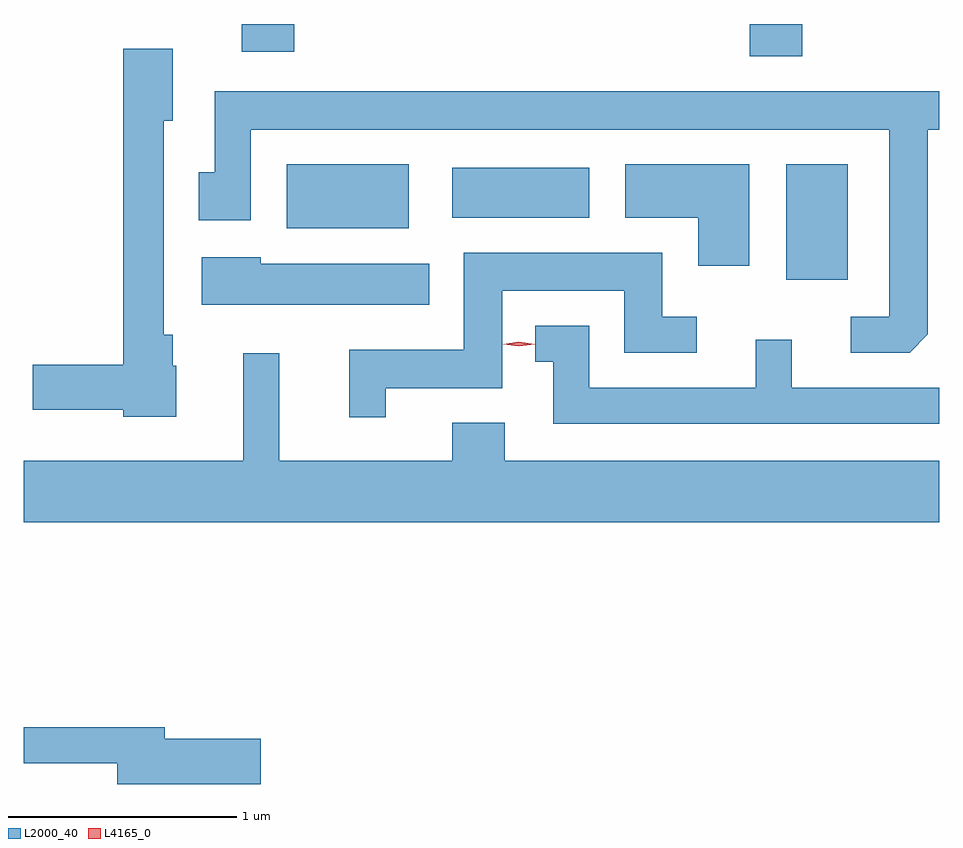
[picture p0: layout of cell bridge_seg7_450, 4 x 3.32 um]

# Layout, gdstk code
import gdstk
lib = gdstk.Library(unit=1e-6, precision=1e-09)
def R(c, l, rs):  # rectangles x0, y0, x1, y1
    for r in rs: c.add(gdstk.rectangle(r[:2], r[2:], *l))
def P(c, l, *ps):  # polygons
    for p in ps: c.add(gdstk.Polygon(p, *l))
L2000_40 = (2000, 40)
L4165_0 = (4165, 0)

bridge_seg7_450 = lib.new_cell('bridge_seg7_450')
R(bridge_seg7_450, L2000_40, [(1100.271,1728.696,1100.539,1729.199), (1098.086,1728.921,1098.619,1729.199), (1098.811,1728.966,1099.409,1729.184), (1100.111,1729.671,1100.339,1729.813), (1097.891,1729.691,1098.119,1729.813)])
P(bridge_seg7_450, L2000_40, [(1097.604,1728.32),(1097.589,1728.32),(1097.589,1728.454),(1097.549,1728.454),(1097.549,1729.391),(1097.589,1729.391),(1097.589,1729.704),(1097.371,1729.704),(1097.371,1728.324),(1096.976,1728.324),(1096.976,1728.126),(1097.371,1728.126),(1097.371,1728.096),(1097.604,1728.096)],
  [(1100.889,1728.457),(1100.889,1729.351),(1100.938,1729.351),(1100.938,1729.519),(1097.771,1729.519),(1097.771,1729.164),(1097.701,1729.164),(1097.701,1728.956),(1097.929,1728.956),(1097.929,1729.351),(1100.721,1729.351),(1100.721,1728.534),(1100.553,1728.534),(1100.553,1728.376),(1100.809,1728.376)],
  [(1100.109,1729.199),(1099.566,1729.199),(1099.566,1728.966),(1099.886,1728.966),(1099.886,1728.756),(1100.109,1728.756)],
  [(1098.519,1728.221),(1099.029,1728.221),(1099.029,1728.646),(1099.561,1728.646),(1099.561,1728.376),(1099.878,1728.376),(1099.878,1728.534),(1099.729,1728.534),(1099.729,1728.814),(1098.861,1728.814),(1098.861,1728.389),(1098.361,1728.389),(1098.361,1728.093),(1098.519,1728.093)],
  [(1098.709,1728.764),(1097.974,1728.764),(1097.974,1728.794),(1097.716,1728.794),(1097.716,1728.586),(1098.709,1728.586)],
  [(1100.938,1728.224),(1100.294,1728.224),(1100.294,1728.433),(1100.136,1728.433),(1100.136,1728.224),(1099.409,1728.224),(1099.409,1728.494),(1099.173,1728.494),(1099.173,1728.336),(1099.251,1728.336),(1099.251,1728.066),(1100.938,1728.066)],
  [(1100.938,1727.904),(1099.039,1727.904),(1099.039,1728.069),(1098.811,1728.069),(1098.811,1727.904),(1098.054,1727.904),(1098.054,1728.373),(1097.896,1728.373),(1097.896,1727.904),(1096.938,1727.904),(1096.938,1727.636),(1100.938,1727.636)],
  [(1097.974,1726.689),(1097.554,1726.689),(1097.554,1726.739),(1096.938,1726.739),(1096.938,1726.581),(1097.346,1726.581),(1097.346,1726.491),(1097.974,1726.491)])
P(bridge_seg7_450, L4165_0, [(1099.101,1728.404),(1099.032,1728.413),(1099.032,1728.414),(1099.032,1728.414),(1099.101,1728.424),(1099.171,1728.414),(1099.171,1728.414),(1099.171,1728.413)])

lib.write_gds('bridge_seg7_450.gds')
